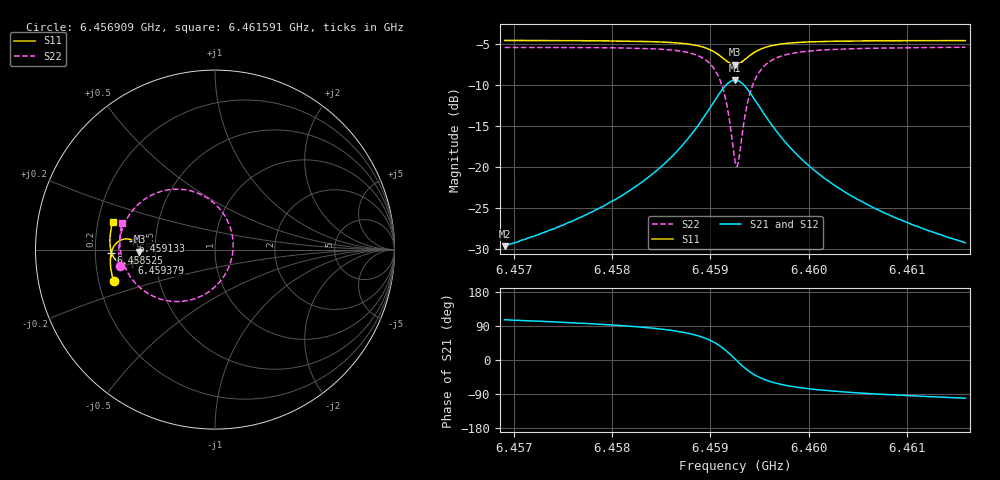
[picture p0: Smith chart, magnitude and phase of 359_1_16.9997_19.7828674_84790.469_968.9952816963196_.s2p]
#  HZ  S  RI  R  50.00
! Rohde & Schwarz Vector Network Analyzer
! Rohde-Schwarz,ZNB20-2Port,1311601062101988,3.16
! Created: UTC 3/20/2024, 11:08:09 PM
! freq[Hz]  re:S11  im:S11  re:S21  im:S21  re:S12  im:S12  re:S22  im:S22
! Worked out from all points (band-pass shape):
!   401 points, 6.456909 GHz to 6.461591 GHz, reference 50 ohm
!   highest |S21| = -9.39 dB at 6.45925 GHz (marker M1); lowest = -29.7 dB at 6.456909 GHz (marker M2)
!   |S21| within 3 dB of the highest: 6.459017 GHz to 6.459484 GHz (467.8 kHz wide, 0.00724 % of centre)
!   lowest |S11| = -7.5 dB at 6.45925 GHz (marker M3), VSWR 2.45, Z = 20.4 - j0.581 ohm
!   |S11| at or under -10 dB: nowhere
!   |S22| runs from -19.9 to -5.4 dB; largest |S21 - S12| = 0.013
!   S11 on the Smith chart (normalised r, x): 6.456909 GHz: 0.26, -0.14; 6.458525 GHz: 0.27, -0.01; 6.459133 GHz: 0.37, +0.05; 6.459379 GHz: 0.36, -0.07; 6.461591 GHz: 0.26, +0.12
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6.4569093e9  -0.565 -0.1776  -0.00911 0.0315  -0.00739 0.0317  -0.529 -0.0904
6.4576935e9  -0.5797 -0.1094  -0.00588 0.0492  -0.00351 0.0487  -0.5357 -7.66e-05
6.4581032e9  -0.5831 -0.0688  -0.00068 0.067  0.00238 0.0659  -0.5294 0.063
6.4584778e9  -0.5798 -0.0248  0.0132 0.0968  0.0171 0.0941  -0.5043 0.1444
6.4585246e9  -0.5784 -0.0185  0.0165 0.1022  0.0204 0.0993  -0.4982 0.1574
6.458747e9  -0.5656 0.0153  0.0442 0.1355  0.0482 0.1308  -0.4465 0.233
6.4588991e9  -0.5433 0.0416  0.0882 0.1658  0.0916 0.1593  -0.3652 0.2973
6.4590396e9  -0.5004 0.0595  0.1738 0.1827  0.1747 0.1754  -0.2094 0.3369
6.4591332e9  -0.4565 0.0498  0.2623 0.1527  0.2625 0.1468  -0.0456 0.2891
6.4591801e9  -0.4356 0.0314  0.3055 0.1109  0.3066 0.1056  0.0363 0.2148
6.4592503e9  -0.4208 -0.0117  0.3387 0.0156  0.3422 0.0089  0.1011 0.0388
6.459262e9  -0.4212 -0.0197  0.3387 -0.00177  0.3424 -0.00914  0.1008 0.00605
6.4592854e9  -0.4247 -0.0351  0.3334 -0.036  0.3369 -0.0447  0.0904 -0.0586
6.4593322e9  -0.44 -0.0606  0.3057 -0.0949  0.3076 -0.1064  0.0346 -0.1697
6.459379e9  -0.4617 -0.0766  0.2645 -0.1354  0.2636 -0.1483  -0.0483 -0.2436
6.4594727e9  -0.5043 -0.0833  0.1811 -0.1664  0.1753 -0.1775  -0.2135 -0.2895
6.4596248e9  -0.5475 -0.0626  0.0948 -0.1531  0.0867 -0.1591  -0.3779 -0.2418
6.4597887e9  -0.5687 -0.0351  0.0508 -0.1259  0.0435 -0.1287  -0.457 -0.1713
6.4600345e9  -0.5812 0.000401  0.0223 -0.095  0.0165 -0.0958  -0.5044 -0.0903
6.460374e9  -0.5855 0.0404  0.00672 -0.0695  0.00267 -0.0692  -0.5253 -0.0142
6.4608187e9  -0.5835 0.0849  -0.00127 -0.0509  -0.00414 -0.0499  -0.5298 0.0557
6.4615913e9  -0.571 0.153  -0.00647 -0.0339  -0.00801 -0.033  -0.5183 0.1455
